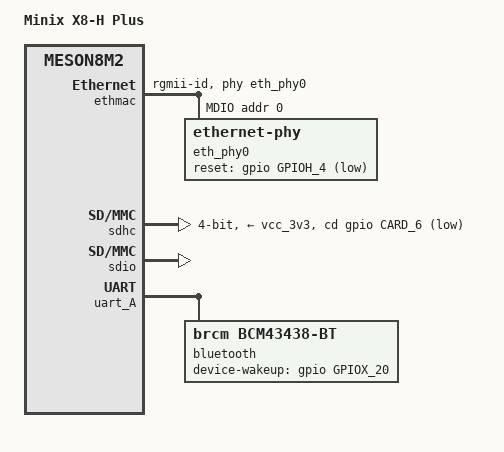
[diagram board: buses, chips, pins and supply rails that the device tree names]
// SPDX-License-Identifier: (GPL-2.0+ OR MIT)
/*
 * Copyright (c) 2018 Oleg Ivanov <balbes-150@yandex.ru>
 * Copyright (c) 2018 Martin Blumenstingl <martin.blumenstingl@googlemail.com>
 * Copyright (c) 2020 Arnaud Mondit <arnaud.mondit@gmail.com>
 */

/dts-v1/;

#include "meson8m2-mxiii.dtsi"

/ {
	model = "Minix X8-H Plus";
	compatible = "minix,x8-h-plus", "amlogic,meson8m2";

	aliases {
		serial1 = &uart_A;
	};
};

&ethmac {
	status = "okay";

	pinctrl-0 = <&eth_rgmii_pins>;
	pinctrl-names = "default";

	phy-handle = <&eth_phy0>;
	phy-mode = "rgmii-id";

	mdio {
		compatible = "snps,dwmac-mdio";
		#address-cells = <1>;
		#size-cells = <0>;

		eth_phy0: ethernet-phy@0 {
			/* Realtek RTL8211F (0x001cc916) */
			reg = <0>;

			reset-assert-us = <10000>;
			reset-deassert-us = <30000>;
			reset-gpios = <&gpio GPIOH_4 GPIO_ACTIVE_LOW>;
		};
	};
};

&sdhc {
	status = "okay";

	pinctrl-0 = <&sdxc_b_pins>;
	pinctrl-names = "default";

	bus-width = <4>;
	max-frequency = <50000000>;

	no-mmc;
	no-sdio;
	cap-sd-highspeed;
	disable-wp;

	cd-gpios = <&gpio CARD_6 GPIO_ACTIVE_LOW>;

	vmmc-supply = <&vcc_3v3>;
	vqmmc-supply = <&vcc_3v3>;
};

&sdio {
	status = "okay";

	pinctrl-0 = <&sd_a_pins>;
	pinctrl-names = "default";

	sdio_wireless_slot: slot@0 {
		compatible = "mmc-slot";
		reg = <0>;

		bus-width = <4>;
		cap-mmc-highspeed;
		cap-sd-highspeed;
		non-removable;
		disable-wp;

		mmc-pwrseq = <&sdio_pwrseq>;

		vmmc-supply = <&vcc_3v3>;
	};
};

&uart_A {
	status = "okay";
	pinctrl-0 = <&uart_a1_pins>, <&uart_a1_cts_rts_pins>;
	pinctrl-names = "default";
	uart-has-rtscts;

    bluetooth {
		compatible = "brcm,bcm43438-bt";
		device-wakeup-gpios = <&gpio GPIOX_20 GPIO_ACTIVE_HIGH>;
	};
};
